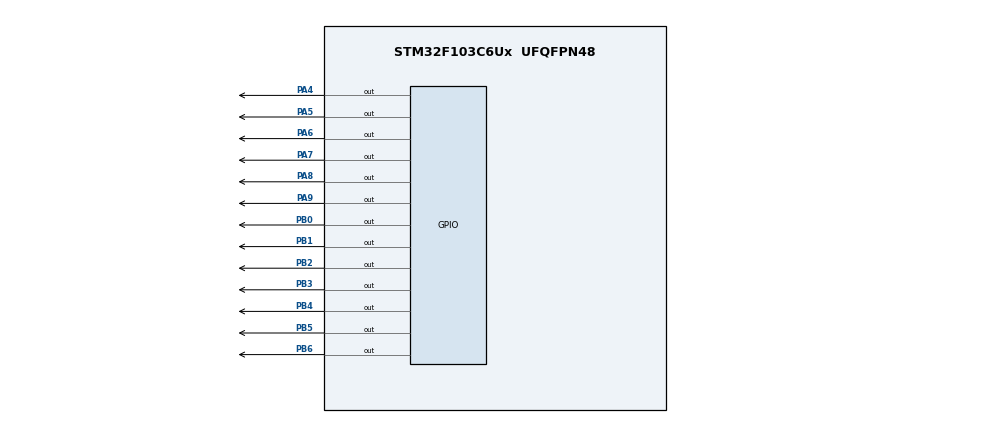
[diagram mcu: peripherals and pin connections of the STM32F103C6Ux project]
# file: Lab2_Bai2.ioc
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Mcu.Family=STM32F1
Mcu.Name=STM32F103C6Ux
Mcu.Package=UFQFPN48
NVIC.PriorityGroup=NVIC_PRIORITYGROUP_4
NVIC.TIM2_IRQn=true\:0\:0\:false\:false\:true\:true\:true
PA4.Signal=GPIO_Output
PA5.Signal=GPIO_Output
PA6.Signal=GPIO_Output
PA7.Signal=GPIO_Output
PA8.Signal=GPIO_Output
PA9.Signal=GPIO_Output
PB0.Signal=GPIO_Output
PB1.Signal=GPIO_Output
PB2.Signal=GPIO_Output
PB3.Signal=GPIO_Output
PB4.Signal=GPIO_Output
PB5.Signal=GPIO_Output
PB6.Signal=GPIO_Output
ProjectManager.HeapSize=0x200
ProjectManager.StackSize=0x400
ProjectManager.TargetToolchain=STM32CubeIDE
RCC.APB1Freq_Value=8000000
RCC.APB2Freq_Value=8000000
TIM2.Period=9
TIM2.Prescaler=7999
VP_SYS_VS_ND.Mode=No_Debug
VP_TIM2_VS_ClockSourceINT.Mode=Internal
board=custom

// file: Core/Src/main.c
/* USER CODE BEGIN Header */
/**
  ******************************************************************************
  * @file           : main.c
  * @brief          : Main program body
  ******************************************************************************
  * @attention
  *
  * <h2><center>&copy; Copyright (c) 2023 STMicroelectronics.
  * All rights reserved.</center></h2>
  *
  * This software component is licensed by ST under BSD 3-Clause license,
  * the "License"; You may not use this file except in compliance with the
  * License. You may obtain a copy of the License at:
  *                        opensource.org/licenses/BSD-3-Clause
  *
  ******************************************************************************
  */
/* USER CODE END Header */
#include "main.h"

/* USER CODE BEGIN Includes */
#include "sofware_timer.h"
/* USER CODE END Includes */

TIM_HandleTypeDef htim2;

void SystemClock_Config(void);
static void MX_GPIO_Init(void);
static void MX_TIM2_Init(void);

/* USER CODE BEGIN 0 */
void display7SEG (int num){
	switch (num){
		case 0:
			HAL_GPIO_WritePin(GPIOB, GPIO_PIN_0, RESET);
			HAL_GPIO_WritePin(GPIOB, GPIO_PIN_1, RESET);
			HAL_GPIO_WritePin(GPIOB, GPIO_PIN_2, RESET);
			HAL_GPIO_WritePin(GPIOB, GPIO_PIN_3, RESET);
			HAL_GPIO_WritePin(GPIOB, GPIO_PIN_4, RESET);
			HAL_GPIO_WritePin(GPIOB, GPIO_PIN_5, RESET);
			HAL_GPIO_WritePin(GPIOB, GPIO_PIN_6, SET);
			break;
		case 1:
			HAL_GPIO_WritePin(GPIOB, GPIO_PIN_0, SET);
			HAL_GPIO_WritePin(GPIOB, GPIO_PIN_1, RESET);
			HAL_GPIO_WritePin(GPIOB, GPIO_PIN_2, RESET);
			HAL_GPIO_WritePin(GPIOB, GPIO_PIN_3, SET);
			HAL_GPIO_WritePin(GPIOB, GPIO_PIN_4, SET);
			HAL_GPIO_WritePin(GPIOB, GPIO_PIN_5, SET);
			HAL_GPIO_WritePin(GPIOB, GPIO_PIN_6, SET);
			break;
		case 2:
			HAL_GPIO_WritePin(GPIOB, GPIO_PIN_0, RESET);
			HAL_GPIO_WritePin(GPIOB, GPIO_PIN_1, RESET);
			HAL_GPIO_WritePin(GPIOB, GPIO_PIN_2, SET);
			HAL_GPIO_WritePin(GPIOB, GPIO_PIN_3, RESET);
			HAL_GPIO_WritePin(GPIOB, GPIO_PIN_4, RESET);
			HAL_GPIO_WritePin(GPIOB, GPIO_PIN_5, SET);
			HAL_GPIO_WritePin(GPIOB, GPIO_PIN_6, RESET);
			break;
		case 3:
			HAL_GPIO_WritePin(GPIOB, GPIO_PIN_0, RESET);
			HAL_GPIO_WritePin(GPIOB, GPIO_PIN_1, RESET);
			HAL_GPIO_WritePin(GPIOB, GPIO_PIN_2, RESET);
			HAL_GPIO_WritePin(GPIOB, GPIO_PIN_3, RESET);
			HAL_GPIO_WritePin(GPIOB, GPIO_PIN_4, SET);
			HAL_GPIO_WritePin(GPIOB, GPIO_PIN_5, SET);
			HAL_GPIO_WritePin(GPIOB, GPIO_PIN_6, RESET);
			break;
		case 4:
			HAL_GPIO_WritePin(GPIOB, GPIO_PIN_0, SET);
			HAL_GPIO_WritePin(GPIOB, GPIO_PIN_1, RESET);
			HAL_GPIO_WritePin(GPIOB, GPIO_PIN_2, RESET);
			HAL_GPIO_WritePin(GPIOB, GPIO_PIN_3, SET);
			HAL_GPIO_WritePin(GPIOB, GPIO_PIN_4, SET);
			HAL_GPIO_WritePin(GPIOB, GPIO_PIN_5, RESET);
			HAL_GPIO_WritePin(GPIOB, GPIO_PIN_6, RESET);
			break;
		case 5:
			HAL_GPIO_WritePin(GPIOB, GPIO_PIN_0, RESET);
			HAL_GPIO_WritePin(GPIOB, GPIO_PIN_1, SET);
			HAL_GPIO_WritePin(GPIOB, GPIO_PIN_2, RESET);
			HAL_GPIO_WritePin(GPIOB, GPIO_PIN_3, RESET);
			HAL_GPIO_WritePin(GPIOB, GPIO_PIN_4, SET);
			HAL_GPIO_WritePin(GPIOB, GPIO_PIN_5, RESET);
			HAL_GPIO_WritePin(GPIOB, GPIO_PIN_6, RESET);
			break;
		case 6:
			HAL_GPIO_WritePin(GPIOB, GPIO_PIN_0, RESET);
			HAL_GPIO_WritePin(GPIOB, GPIO_PIN_1, SET);
			HAL_GPIO_WritePin(GPIOB, GPIO_PIN_2, RESET);
			HAL_GPIO_WritePin(GPIOB, GPIO_PIN_3, RESET);
			HAL_GPIO_WritePin(GPIOB, GPIO_PIN_4, RESET);
			HAL_GPIO_WritePin(GPIOB, GPIO_PIN_5, RESET);
			HAL_GPIO_WritePin(GPIOB, GPIO_PIN_6, RESET);
			break;
		case 7:
			HAL_GPIO_WritePin(GPIOB, GPIO_PIN_0, RESET);
			HAL_GPIO_WritePin(GPIOB, GPIO_PIN_1, RESET);
			HAL_GPIO_WritePin(GPIOB, GPIO_PIN_2, RESET);
			HAL_GPIO_WritePin(GPIOB, GPIO_PIN_3, SET);
			HAL_GPIO_WritePin(GPIOB, GPIO_PIN_4, SET);
			HAL_GPIO_WritePin(GPIOB, GPIO_PIN_5, SET);
			HAL_GPIO_WritePin(GPIOB, GPIO_PIN_6, SET);
			break;
		case 8:
			HAL_GPIO_WritePin(GPIOB, GPIO_PIN_0, RESET);
			HAL_GPIO_WritePin(GPIOB, GPIO_PIN_1, RESET);
			HAL_GPIO_WritePin(GPIOB, GPIO_PIN_2, RESET);
			HAL_GPIO_WritePin(GPIOB, GPIO_PIN_3, RESET);
			HAL_GPIO_WritePin(GPIOB, GPIO_PIN_4, RESET);
			HAL_GPIO_WritePin(GPIOB, GPIO_PIN_5, RESET);
			HAL_GPIO_WritePin(GPIOB, GPIO_PIN_6, RESET);
			break;
		case 9:
			HAL_GPIO_WritePin(GPIOB, GPIO_PIN_0, RESET);
			HAL_GPIO_WritePin(GPIOB, GPIO_PIN_1, RESET);
			HAL_GPIO_WritePin(GPIOB, GPIO_PIN_2, RESET);
			HAL_GPIO_WritePin(GPIOB, GPIO_PIN_3, RESET);
			HAL_GPIO_WritePin(GPIOB, GPIO_PIN_4, SET);
			HAL_GPIO_WritePin(GPIOB, GPIO_PIN_5, RESET);
			HAL_GPIO_WritePin(GPIOB, GPIO_PIN_6, RESET);
			break;
	}
}
/* USER CODE END 0 */

int main(void)
{

  /* MCU Configuration--------------------------------------------------------*/

  /* Reset of all peripherals, Initializes the Flash interface and the Systick. */
  HAL_Init();

  /* Configure the system clock */
  SystemClock_Config();

  /* Initialize all configured peripherals */
  MX_GPIO_Init();
  MX_TIM2_Init();
  /* USER CODE BEGIN 2 */
  HAL_TIM_Base_Start_IT(&htim2);
  /* USER CODE END 2 */

  /* Infinite loop */
  /* USER CODE BEGIN WHILE */
  setTimer1(50);
  int ledNum = 1;
  HAL_GPIO_WritePin(GPIOA, GPIO_PIN_4, SET);
  HAL_GPIO_WritePin(GPIOA, GPIO_PIN_5, SET);
  HAL_GPIO_WritePin(GPIOA, GPIO_PIN_6, SET);
  HAL_GPIO_WritePin(GPIOA, GPIO_PIN_7, SET);
  HAL_GPIO_WritePin(GPIOA, GPIO_PIN_8, SET);
  HAL_GPIO_WritePin(GPIOA, GPIO_PIN_9, SET);
  while (1)
  {
    /* USER CODE END WHILE */
	  if(timer1_flag == 1){
		  HAL_GPIO_TogglePin(GPIOA, GPIO_PIN_4);
		  HAL_GPIO_TogglePin(GPIOA, GPIO_PIN_5);
	 		 switch(ledNum){
	 		 case 1:
	 			 HAL_GPIO_WritePin(GPIOA, GPIO_PIN_6, RESET);
	 			 HAL_GPIO_WritePin(GPIOA, GPIO_PIN_7, SET);
	 			 HAL_GPIO_WritePin(GPIOA, GPIO_PIN_8, SET);
	 			 HAL_GPIO_WritePin(GPIOA, GPIO_PIN_9, SET);
	 			 display7SEG(ledNum);
	 			 ledNum = 2;
	 			 break;
	 		 case 2:
	 			 HAL_GPIO_WritePin(GPIOA, GPIO_PIN_6, SET);
	 			 HAL_GPIO_WritePin(GPIOA, GPIO_PIN_7, RESET);
	 			 HAL_GPIO_WritePin(GPIOA, GPIO_PIN_8, SET);
	 			 HAL_GPIO_WritePin(GPIOA, GPIO_PIN_9, SET);
	 			 display7SEG(ledNum);
	 			 ledNum = 3;
	 			 break;
	 		 case 3:
	 			 HAL_GPIO_WritePin(GPIOA, GPIO_PIN_6, SET);
	 			 HAL_GPIO_WritePin(GPIOA, GPIO_PIN_7, SET);
	 			 HAL_GPIO_WritePin(GPIOA, GPIO_PIN_8, RESET);
	 			 HAL_GPIO_WritePin(GPIOA, GPIO_PIN_9, SET);
	 			 display7SEG(ledNum);
	 			 ledNum = 0;
	 			 break;
	 		 case 0:
	 			 HAL_GPIO_WritePin(GPIOA, GPIO_PIN_6, SET);
	 			 HAL_GPIO_WritePin(GPIOA, GPIO_PIN_7, SET);
	 			 HAL_GPIO_WritePin(GPIOA, GPIO_PIN_8, SET);
	 			 HAL_GPIO_WritePin(GPIOA, GPIO_PIN_9, RESET);
	 			 display7SEG(ledNum);
	 			 ledNum = 1;
	 			 break;
	 		 }
	 		 setTimer1(50);
	  }
  }
}

void SystemClock_Config(void)
{
  RCC_OscInitTypeDef RCC_OscInitStruct = {0};
  RCC_ClkInitTypeDef RCC_ClkInitStruct = {0};

  /** Initializes the RCC Oscillators according to the specified parameters
  * in the RCC_OscInitTypeDef structure.
  */
  RCC_OscInitStruct.OscillatorType = RCC_OSCILLATORTYPE_HSI;
  RCC_OscInitStruct.HSIState = RCC_HSI_ON;
  RCC_OscInitStruct.HSICalibrationValue = RCC_HSICALIBRATION_DEFAULT;
  RCC_OscInitStruct.PLL.PLLState = RCC_PLL_NONE;
  if (HAL_RCC_OscConfig(&RCC_OscInitStruct) != HAL_OK)
  {
    Error_Handler();
  }
  /** Initializes the CPU, AHB and APB buses clocks
  */
  RCC_ClkInitStruct.ClockType = RCC_CLOCKTYPE_HCLK|RCC_CLOCKTYPE_SYSCLK
                              |RCC_CLOCKTYPE_PCLK1|RCC_CLOCKTYPE_PCLK2;
  RCC_ClkInitStruct.SYSCLKSource = RCC_SYSCLKSOURCE_HSI;
  RCC_ClkInitStruct.AHBCLKDivider = RCC_SYSCLK_DIV1;
  RCC_ClkInitStruct.APB1CLKDivider = RCC_HCLK_DIV1;
  RCC_ClkInitStruct.APB2CLKDivider = RCC_HCLK_DIV1;

  if (HAL_RCC_ClockConfig(&RCC_ClkInitStruct, FLASH_LATENCY_0) != HAL_OK)
  {
    Error_Handler();
  }
}

static void MX_TIM2_Init(void)
{

  TIM_ClockConfigTypeDef sClockSourceConfig = {0};
  TIM_MasterConfigTypeDef sMasterConfig = {0};

  htim2.Instance = TIM2;
  htim2.Init.Prescaler = 7999;
  htim2.Init.CounterMode = TIM_COUNTERMODE_UP;
  htim2.Init.Period = 9;
  htim2.Init.ClockDivision = TIM_CLOCKDIVISION_DIV1;
  htim2.Init.AutoReloadPreload = TIM_AUTORELOAD_PRELOAD_DISABLE;
  if (HAL_TIM_Base_Init(&htim2) != HAL_OK)
  {
    Error_Handler();
  }
  sClockSourceConfig.ClockSource = TIM_CLOCKSOURCE_INTERNAL;
  if (HAL_TIM_ConfigClockSource(&htim2, &sClockSourceConfig) != HAL_OK)
  {
    Error_Handler();
  }
  sMasterConfig.MasterOutputTrigger = TIM_TRGO_RESET;
  sMasterConfig.MasterSlaveMode = TIM_MASTERSLAVEMODE_DISABLE;
  if (HAL_TIMEx_MasterConfigSynchronization(&htim2, &sMasterConfig) != HAL_OK)
  {
    Error_Handler();
  }

}

static void MX_GPIO_Init(void)
{
  GPIO_InitTypeDef GPIO_InitStruct = {0};

  /* GPIO Ports Clock Enable */
  __HAL_RCC_GPIOA_CLK_ENABLE();
  __HAL_RCC_GPIOB_CLK_ENABLE();

  /*Configure GPIO pin Output Level */
  HAL_GPIO_WritePin(GPIOA, GPIO_PIN_4|GPIO_PIN_5|GPIO_PIN_6|GPIO_PIN_7
                          |GPIO_PIN_8|GPIO_PIN_9, GPIO_PIN_RESET);

  /*Configure GPIO pin Output Level */
  HAL_GPIO_WritePin(GPIOB, GPIO_PIN_0|GPIO_PIN_1|GPIO_PIN_2|GPIO_PIN_3
                          |GPIO_PIN_4|GPIO_PIN_5|GPIO_PIN_6, GPIO_PIN_RESET);

  /*Configure GPIO pins : PA4 PA5 PA6 PA7
                           PA8 PA9 */
  GPIO_InitStruct.Pin = GPIO_PIN_4|GPIO_PIN_5|GPIO_PIN_6|GPIO_PIN_7
                          |GPIO_PIN_8|GPIO_PIN_9;
  GPIO_InitStruct.Mode = GPIO_MODE_OUTPUT_PP;
  GPIO_InitStruct.Pull = GPIO_NOPULL;
  GPIO_InitStruct.Speed = GPIO_SPEED_FREQ_LOW;
  HAL_GPIO_Init(GPIOA, &GPIO_InitStruct);

  /*Configure GPIO pins : PB0 PB1 PB2 PB3
                           PB4 PB5 PB6 */
  GPIO_InitStruct.Pin = GPIO_PIN_0|GPIO_PIN_1|GPIO_PIN_2|GPIO_PIN_3
                          |GPIO_PIN_4|GPIO_PIN_5|GPIO_PIN_6;
  GPIO_InitStruct.Mode = GPIO_MODE_OUTPUT_PP;
  GPIO_InitStruct.Pull = GPIO_NOPULL;
  GPIO_InitStruct.Speed = GPIO_SPEED_FREQ_LOW;
  HAL_GPIO_Init(GPIOB, &GPIO_InitStruct);

}

/* USER CODE BEGIN 4 */
void HAL_TIM_PeriodElapsedCallback(TIM_HandleTypeDef *htim){
	timerRun();
}
/* USER CODE END 4 */

void Error_Handler(void)
{
  __disable_irq();
  while (1)
  {
  }
}

/************************ (C) COPYRIGHT STMicroelectronics *****END OF FILE****/
